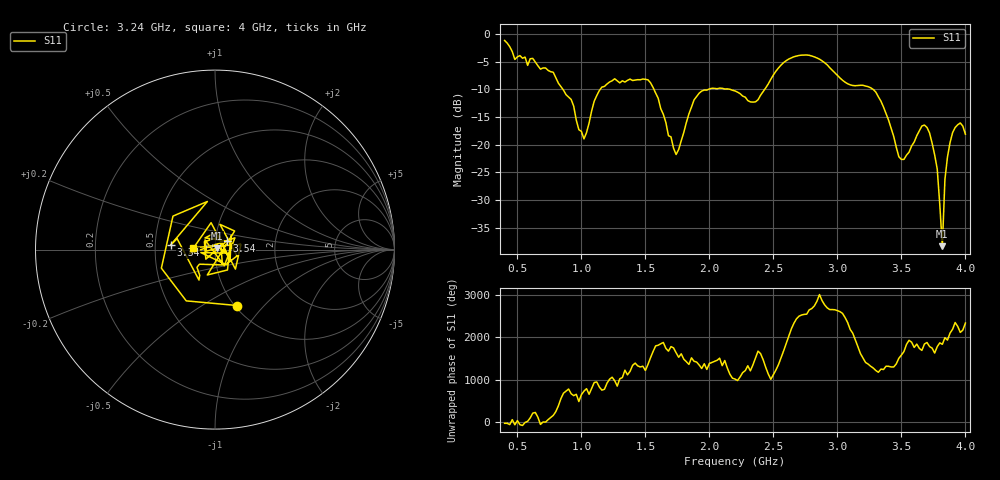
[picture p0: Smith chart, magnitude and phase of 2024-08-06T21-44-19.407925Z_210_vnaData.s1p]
!Created with skrf (http://scikit-rf.org).
# Hz S RI R 50.0
!freq ReS11 ImS11
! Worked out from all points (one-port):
!   181 points, 400 MHz to 4 GHz, reference 50 ohm
!   lowest |S11| = -38.4 dB at 3.82 GHz (marker M1), VSWR 1.02, Z = 51 + j0.746 ohm
!   |S11| at or under -10 dB: 856 MHz to 1.146 GHz (290.4 MHz wide, 29 % of centre); 1.567 GHz to 1.991 GHz (424.2 MHz wide, 23.8 % of centre); 3.28 GHz to end of sweep (the widest 3 of 4)
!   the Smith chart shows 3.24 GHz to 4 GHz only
!   S11 on the Smith chart (normalised r, x): 3.24 GHz: 1.03, -0.72; 3.34 GHz: 0.60, +0.03; 3.54 GHz: 1.13, +0.11; 4 GHz: 0.78, +0.02
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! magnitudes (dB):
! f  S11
! 400 MHz  -1.1
! 480 MHz  -4.6
! 860 MHz  -10.1
! 1.02 GHz  -19.0
! 1.14 GHz  -10.2
! 1.3 GHz  -8.8
! 1.52 GHz  -8.3
! 1.74 GHz  -21.8
! 1.76 GHz  -20.9
! 1.92 GHz  -10.7
! 2.2 GHz  -10.3
! 2.36 GHz  -12.2
! 2.66 GHz  -4.1
! 2.86 GHz  -4.5
! 3.1 GHz  -9.2
! 3.24 GHz  -9.5
! 3.34 GHz  -12.1
! 3.48 GHz  -22.2
! 3.54 GHz  -21.9
! 3.56 GHz  -21.4
! 3.66 GHz  -16.6
! 3.72 GHz  -17.9
! 3.78 GHz  -24.4
! 3.82 GHz  -38.4
! 3.84 GHz  -26.3
! 3.88 GHz  -19.6
! 3.96 GHz  -16.1
! 4 GHz  -18.1
